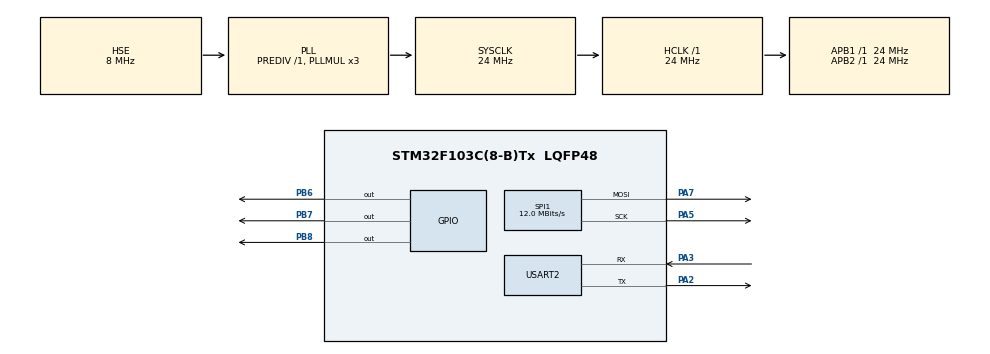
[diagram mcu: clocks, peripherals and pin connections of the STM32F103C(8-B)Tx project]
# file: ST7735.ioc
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Mcu.Family=STM32F1
RCC.PLLSourceVirtual=RCC_PLLSOURCE_HSE
Dma.SPI1_TX.0.MemInc=DMA_MINC_ENABLE
Dma.SPI1_TX.0.PeriphInc=DMA_PINC_DISABLE
PA7.Mode=TX_Only_Simplex_Unidirect_Master
PD1-OSC_OUT.Mode=HSE-External-Oscillator
SPI1.VirtualType=VM_MASTER
PD0-OSC_IN.Signal=RCC_OSC_IN
RCC.SYSCLKSource=RCC_SYSCLKSOURCE_PLLCLK
ProjectManager.StackSize=0x400
PD1-OSC_OUT.Signal=RCC_OSC_OUT
NVIC.DMA1_Channel3_IRQn=true\:0\:0\:false\:false\:true\:false\:true
PA13.Signal=SYS_JTMS-SWDIO
PA3.Mode=Asynchronous
ProjectManager.TargetToolchain=MDK-ARM V5
SPI1.Direction=SPI_DIRECTION_2LINES
Dma.SPI1_TX.0.PeriphDataAlignment=DMA_PDATAALIGN_HALFWORD
RCC.HCLKFreq_Value=24000000
Dma.SPI1_TX.0.Direction=DMA_MEMORY_TO_PERIPH
RCC.APB2TimFreq_Value=24000000
PB6.Signal=GPIO_Output
SPI1.CalculateBaudRate=12.0 MBits/s
RCC.USBFreq_Value=24000000
RCC.AHBFreq_Value=24000000
PD0-OSC_IN.Mode=HSE-External-Oscillator
PA5.Signal=SPI1_SCK
board=custom
RCC.PLLMUL=RCC_PLL_MUL3
RCC.APB2Freq_Value=24000000
SPI1.Mode=SPI_MODE_MASTER
PA14.Mode=Serial_Wire
SPI1.DataSize=SPI_DATASIZE_8BIT
Dma.SPI1_TX.0.Instance=DMA1_Channel3
PB7.Signal=GPIO_Output
PA13.Mode=Serial_Wire
Mcu.Name=STM32F103C(8-B)Tx
PA2.Signal=USART2_TX
Dma.SPI1_TX.0.Mode=DMA_NORMAL
RCC.SYSCLKFreq_VALUE=24000000
Mcu.Package=LQFP48
USART2.VirtualMode=VM_ASYNC
PA14.Signal=SYS_JTCK-SWCLK
ProjectManager.HeapSize=0x200
Dma.SPI1_TX.0.Priority=DMA_PRIORITY_LOW
Dma.SPI1_TX.0.MemDataAlignment=DMA_MDATAALIGN_HALFWORD
NVIC.PriorityGroup=NVIC_PRIORITYGROUP_4
RCC.APB1TimFreq_Value=24000000
PA2.Mode=Asynchronous
PB8.Signal=GPIO_Output
Dma.Request0=SPI1_TX
RCC.APB1Freq_Value=24000000
SPI1.BaudRatePrescaler=SPI_BAUDRATEPRESCALER_2
PA3.Signal=USART2_RX
PA5.Mode=TX_Only_Simplex_Unidirect_Master
PA7.Signal=SPI1_MOSI

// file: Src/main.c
/* USER CODE BEGIN Header */
/**
  ******************************************************************************
  * @file           : main.c
  * @brief          : Main program body
  ******************************************************************************
  * @attention
  *
  * <h2><center>&copy; Copyright (c) 2020 STMicroelectronics.
  * All rights reserved.</center></h2>
  *
  * This software component is licensed by ST under BSD 3-Clause license,
  * the "License"; You may not use this file except in compliance with the
  * License. You may obtain a copy of the License at:
  *                        opensource.org/licenses/BSD-3-Clause
  *
  ******************************************************************************
  */
/* USER CODE END Header */

#include "main.h"

/* USER CODE BEGIN Includes */
#include <string.h>
#include "../../lib/drivers/display/st7735/st7735.h"
#include "../../lib/drivers/display/st7735/fonts.h"
#include "../../lib/drivers/display/st7735/logo.h"
#include "anh.h"
#include "yua.h"
/* USER CODE END Includes */

SPI_HandleTypeDef hspi1;
DMA_HandleTypeDef hdma_spi1_tx;

UART_HandleTypeDef huart2;

void SystemClock_Config(void);
static void MX_GPIO_Init(void);
static void MX_DMA_Init(void);
static void MX_SPI1_Init(void);
static void MX_USART2_UART_Init(void);

int main(void)
{

  /* MCU Configuration--------------------------------------------------------*/

  /* Reset of all peripherals, Initializes the Flash interface and the Systick. */
  HAL_Init();

  /* Configure the system clock */
  SystemClock_Config();

  /* Initialize all configured peripherals */
  MX_GPIO_Init();
  MX_DMA_Init();
  MX_SPI1_Init();
  MX_USART2_UART_Init();
  /* USER CODE BEGIN 2 */
	ST7735_Init();
  /* USER CODE END 2 */

  /* Infinite loop */
  while (1)
  {

    /* USER CODE BEGIN 3 */
		ST7735_DrawImage(0,0,128, 160,(uint8_t*)gImage_yua);
		HAL_Delay(3000);

		ST7735_WriteString(20, 100, "Censored", Font_11x18, ST7735_RED, ST7735_WHITE);
		HAL_Delay(3000);
    ST7735_FillScreen(ST7735_BLACK);

    for(int x = 0; x < ST7735_WIDTH; x++) {
        ST7735_DrawPixel(x, 0, ST7735_RED);
        ST7735_DrawPixel(x, ST7735_HEIGHT-1, ST7735_RED);
    }

    for(int y = 0; y < ST7735_HEIGHT; y++) {
        ST7735_DrawPixel(0, y, ST7735_RED);
        ST7735_DrawPixel(ST7735_WIDTH-1, y, ST7735_RED);
    }

    HAL_Delay(1000);

    // Check fonts
    ST7735_FillScreen(ST7735_BLACK);
    ST7735_WriteString(0, 0, "Font_7x10, red on black, lorem ipsum dolor sit amet", Font_7x10, ST7735_RED, ST7735_BLACK);
    ST7735_WriteString(0, 3*10, "Font_11x18, green, lorem ipsum", Font_11x18, ST7735_GREEN, ST7735_BLACK);
    ST7735_WriteString(0, 3*10+3*18, "Font_16x26", Font_16x26, ST7735_BLUE, ST7735_BLACK);
    HAL_Delay(2000);

    // Check colors
    ST7735_FillScreen(ST7735_BLACK);
    ST7735_WriteString(0, 0, "BLACK", Font_11x18, ST7735_WHITE, ST7735_BLACK);
    HAL_Delay(500);

    ST7735_FillScreen(ST7735_BLUE);
    ST7735_WriteString(0, 0, "BLUE", Font_11x18, ST7735_BLACK, ST7735_BLUE);
    HAL_Delay(500);

    ST7735_FillScreen(ST7735_RED);
    ST7735_WriteString(0, 0, "RED", Font_11x18, ST7735_BLACK, ST7735_RED);
    HAL_Delay(500);

    ST7735_FillScreen(ST7735_GREEN);
    ST7735_WriteString(0, 0, "GREEN", Font_11x18, ST7735_BLACK, ST7735_GREEN);
    HAL_Delay(500);

    ST7735_FillScreen(ST7735_CYAN);
    ST7735_WriteString(0, 0, "CYAN", Font_11x18, ST7735_BLACK, ST7735_CYAN);
    HAL_Delay(500);

    ST7735_FillScreen(ST7735_MAGENTA);
    ST7735_WriteString(0, 0, "MAGENTA", Font_11x18, ST7735_BLACK, ST7735_MAGENTA);
    HAL_Delay(500);

    ST7735_FillScreen(ST7735_YELLOW);
    ST7735_WriteString(0, 0, "YELLOW", Font_11x18, ST7735_BLACK, ST7735_YELLOW);
    HAL_Delay(500);

    ST7735_FillScreen(ST7735_WHITE);
    ST7735_WriteString(0, 0, "WHITE", Font_11x18, ST7735_BLACK, ST7735_BLUE);
    HAL_Delay(500);

  }
  /* USER CODE END 3 */
}

void SystemClock_Config(void)
{
  RCC_OscInitTypeDef RCC_OscInitStruct = {0};
  RCC_ClkInitTypeDef RCC_ClkInitStruct = {0};

  /** Initializes the CPU, AHB and APB busses clocks
  */
  RCC_OscInitStruct.OscillatorType = RCC_OSCILLATORTYPE_HSE;
  RCC_OscInitStruct.HSEState = RCC_HSE_ON;
  RCC_OscInitStruct.HSEPredivValue = RCC_HSE_PREDIV_DIV1;
  RCC_OscInitStruct.HSIState = RCC_HSI_ON;
  RCC_OscInitStruct.PLL.PLLState = RCC_PLL_ON;
  RCC_OscInitStruct.PLL.PLLSource = RCC_PLLSOURCE_HSE;
  RCC_OscInitStruct.PLL.PLLMUL = RCC_PLL_MUL3;
  if (HAL_RCC_OscConfig(&RCC_OscInitStruct) != HAL_OK)
  {
    Error_Handler();
  }
  /** Initializes the CPU, AHB and APB busses clocks
  */
  RCC_ClkInitStruct.ClockType = RCC_CLOCKTYPE_HCLK|RCC_CLOCKTYPE_SYSCLK
                              |RCC_CLOCKTYPE_PCLK1|RCC_CLOCKTYPE_PCLK2;
  RCC_ClkInitStruct.SYSCLKSource = RCC_SYSCLKSOURCE_PLLCLK;
  RCC_ClkInitStruct.AHBCLKDivider = RCC_SYSCLK_DIV1;
  RCC_ClkInitStruct.APB1CLKDivider = RCC_HCLK_DIV1;
  RCC_ClkInitStruct.APB2CLKDivider = RCC_HCLK_DIV1;

  if (HAL_RCC_ClockConfig(&RCC_ClkInitStruct, FLASH_LATENCY_0) != HAL_OK)
  {
    Error_Handler();
  }
}

static void MX_SPI1_Init(void)
{

  /* SPI1 parameter configuration*/
  hspi1.Instance = SPI1;
  hspi1.Init.Mode = SPI_MODE_MASTER;
  hspi1.Init.Direction = SPI_DIRECTION_2LINES;
  hspi1.Init.DataSize = SPI_DATASIZE_8BIT;
  hspi1.Init.CLKPolarity = SPI_POLARITY_LOW;
  hspi1.Init.CLKPhase = SPI_PHASE_1EDGE;
  hspi1.Init.NSS = SPI_NSS_SOFT;
  hspi1.Init.BaudRatePrescaler = SPI_BAUDRATEPRESCALER_2;
  hspi1.Init.FirstBit = SPI_FIRSTBIT_MSB;
  hspi1.Init.TIMode = SPI_TIMODE_DISABLE;
  hspi1.Init.CRCCalculation = SPI_CRCCALCULATION_DISABLE;
  hspi1.Init.CRCPolynomial = 10;
  if (HAL_SPI_Init(&hspi1) != HAL_OK)
  {
    Error_Handler();
  }

}

static void MX_USART2_UART_Init(void)
{

  huart2.Instance = USART2;
  huart2.Init.BaudRate = 115200;
  huart2.Init.WordLength = UART_WORDLENGTH_8B;
  huart2.Init.StopBits = UART_STOPBITS_1;
  huart2.Init.Parity = UART_PARITY_NONE;
  huart2.Init.Mode = UART_MODE_TX_RX;
  huart2.Init.HwFlowCtl = UART_HWCONTROL_NONE;
  huart2.Init.OverSampling = UART_OVERSAMPLING_16;
  if (HAL_UART_Init(&huart2) != HAL_OK)
  {
    Error_Handler();
  }

}

static void MX_DMA_Init(void)
{

  /* DMA controller clock enable */
  __HAL_RCC_DMA1_CLK_ENABLE();

  /* DMA interrupt init */
  /* DMA1_Channel3_IRQn interrupt configuration */
  HAL_NVIC_SetPriority(DMA1_Channel3_IRQn, 0, 0);
  HAL_NVIC_EnableIRQ(DMA1_Channel3_IRQn);

}

static void MX_GPIO_Init(void)
{
  GPIO_InitTypeDef GPIO_InitStruct = {0};

  /* GPIO Ports Clock Enable */
  __HAL_RCC_GPIOD_CLK_ENABLE();
  __HAL_RCC_GPIOA_CLK_ENABLE();
  __HAL_RCC_GPIOB_CLK_ENABLE();

  /*Configure GPIO pin Output Level */
  HAL_GPIO_WritePin(GPIOB, GPIO_PIN_6|GPIO_PIN_7|GPIO_PIN_8, GPIO_PIN_RESET);

  /*Configure GPIO pins : PB6 PB7 PB8 */
  GPIO_InitStruct.Pin = GPIO_PIN_6|GPIO_PIN_7|GPIO_PIN_8;
  GPIO_InitStruct.Mode = GPIO_MODE_OUTPUT_PP;
  GPIO_InitStruct.Pull = GPIO_NOPULL;
  GPIO_InitStruct.Speed = GPIO_SPEED_FREQ_LOW;
  HAL_GPIO_Init(GPIOB, &GPIO_InitStruct);

}

void Error_Handler(void)
{
}

/************************ (C) COPYRIGHT STMicroelectronics *****END OF FILE****/
